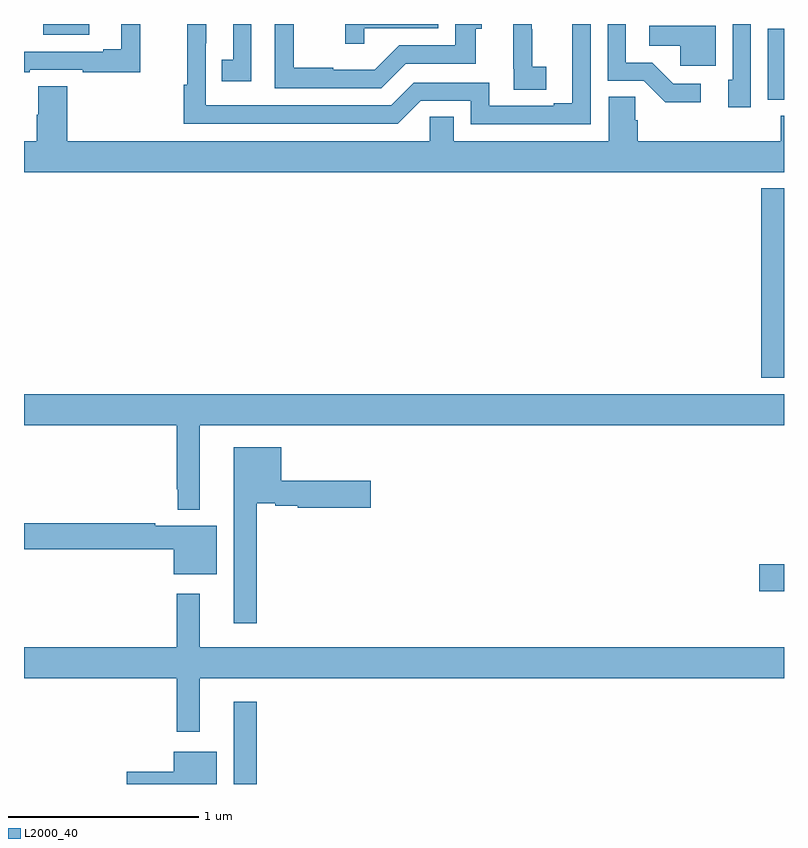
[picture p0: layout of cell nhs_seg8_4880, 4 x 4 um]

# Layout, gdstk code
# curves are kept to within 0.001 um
import gdstk
lib = gdstk.Library(unit=1e-6, precision=1e-09)
def R(c, l, rs):  # rectangles x0, y0, x1, y1
    for r in rs: c.add(gdstk.rectangle(r[:2], r[2:], *l))
def P(c, l, *ps):  # polygons
    for p in ps: c.add(gdstk.Polygon(p, *l))
L2000_40 = (2000, 40)

nhs_seg8_4880 = lib.new_cell('nhs_seg8_4880')
R(nhs_seg8_4880, L2000_40, [(406.103,1159.9,406.225,1160.332), (408.87,1160.914,409,1161.056), (408.881,1162.037,409,1163.035), (408.915,1163.502,409,1163.875), (405.101,1163.843,405.343,1163.9)])
P(nhs_seg8_4880, L2000_40, [(407.01,1163.691),(407.377,1163.691),(407.377,1163.875),(407.41,1163.875),(407.41,1163.9),(407.27,1163.9),(407.27,1163.787),(406.974,1163.787),(406.846,1163.659),(406.628,1163.659),(406.628,1163.671),(406.421,1163.671),(406.421,1163.9),(406.32,1163.9),(406.32,1163.562),(406.881,1163.562)],
  [(405.031,1163.658),(405.31,1163.658),(405.31,1163.646),(405.612,1163.646),(405.612,1163.9),(405.512,1163.9),(405.512,1163.767),(405.416,1163.767),(405.416,1163.754),(405,1163.754),(405,1163.646),(405.031,1163.646)],
  [(406.791,1163.877),(407.181,1163.877),(407.181,1163.9),(406.69,1163.9),(406.69,1163.796),(406.791,1163.796)],
  [(407.749,1163.676),(407.675,1163.676),(407.675,1163.873),(407.673,1163.873),(407.673,1163.9),(407.576,1163.9),(407.576,1163.665),(407.578,1163.665),(407.578,1163.554),(407.749,1163.554)],
  [(407.982,1163.9),(407.885,1163.9),(407.885,1163.484),(407.789,1163.484),(407.789,1163.469),(407.448,1163.469),(407.448,1163.592),(407.052,1163.592),(406.932,1163.472),(405.957,1163.472),(405.958,1163.9),(405.859,1163.9),(405.859,1163.579),(405.841,1163.579),(405.841,1163.376),(406.968,1163.376),(407.088,1163.496),(407.352,1163.496),(407.352,1163.373),(407.982,1163.373)],
  [(408.562,1163.586),(408.417,1163.586),(408.306,1163.697),(408.168,1163.697),(408.168,1163.9),(408.072,1163.9),(408.072,1163.601),(408.261,1163.601),(408.374,1163.489),(408.562,1163.489)],
  [(408.825,1163.9),(408.729,1163.9),(408.729,1163.607),(408.707,1163.607),(408.707,1163.463),(408.825,1163.463)],
  [(406.197,1163.9),(406.1,1163.9),(406.1,1163.711),(406.042,1163.711),(406.042,1163.598),(406.197,1163.598)],
  [(408.64,1163.89),(408.291,1163.89),(408.291,1163.786),(408.453,1163.786),(408.453,1163.679),(408.64,1163.679)],
  [(408.216,1163.393),(408.216,1163.516),(408.077,1163.516),(408.077,1163.284),(407.263,1163.284),(407.263,1163.411),(407.136,1163.411),(407.136,1163.284),(405.227,1163.284),(405.227,1163.573),(405.074,1163.573),(405.074,1163.423),(405.067,1163.423),(405.067,1163.284),(405,1163.284),(405,1163.12),(409,1163.12),(409,1163.417),(408.983,1163.417),(408.983,1163.284),(408.23,1163.284),(408.23,1163.393)],
  [(405.925,1161.788),(409,1161.788),(409,1161.952),(405,1161.952),(405,1161.788),(405.804,1161.788),(405.804,1161.451),(405.81,1161.451),(405.81,1161.344),(405.925,1161.344)],
  [(406.225,1161.377),(406.322,1161.377),(406.322,1161.365),(406.44,1161.365),(406.44,1161.353),(406.825,1161.353),(406.825,1161.495),(406.354,1161.495),(406.354,1161.673),(406.103,1161.673),(406.103,1160.745),(406.225,1160.745)],
  [(406.015,1161.259),(405.692,1161.259),(405.692,1161.272),(405,1161.272),(405,1161.136),(405.788,1161.136),(405.788,1161.005),(406.015,1161.005)],
  [(405.925,1160.456),(409,1160.456),(409,1160.62),(405.925,1160.62),(405.925,1160.902),(405.804,1160.902),(405.804,1160.62),(405,1160.62),(405,1160.456),(405.804,1160.456),(405.804,1160.175),(405.925,1160.175)],
  [(406.015,1160.071),(405.788,1160.071),(405.788,1159.965),(405.54,1159.965),(405.54,1159.9),(406.015,1159.9)])

lib.write_gds('nhs_seg8_4880.gds')
